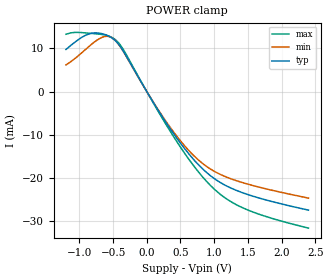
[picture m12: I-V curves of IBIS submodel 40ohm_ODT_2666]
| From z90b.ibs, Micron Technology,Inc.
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| SUBMODEL 40ohm_ODT_2666
[Submodel]   40ohm_ODT_2666
Submodel_type  Dynamic_clamp
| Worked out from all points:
|   POWER clamp passes 1 mA (typ) near -0.04 V on its own axis
[POWER Clamp]
|   Voltage   I(typ)   I(min)   I(max)
-1.2V     9.752mA    6.166mA    13.27mA
-850mV    13.38mA    10.55mA    13.49mA
-650mV    13.34mA    12.63mA    13.17mA
-530mV    12.54mA    12.55mA    12.63mA
-350mV    9.392mA    9.325mA    9.77mA
135mV     -3.469mA   -3.375mA   -3.672mA
420mV     -10.22mA   -9.801mA   -10.95mA
715mV     -16.05mA   -15.08mA   -17.55mA
985mV     -19.93mA   -18.29mA   -22.32mA
1.2V      -21.95mA   -19.88mA   -24.98mA
1.475V    -23.69mA   -21.3mA    -27.23mA
2.4V      -27.43mA   -24.64mA   -31.58mA
